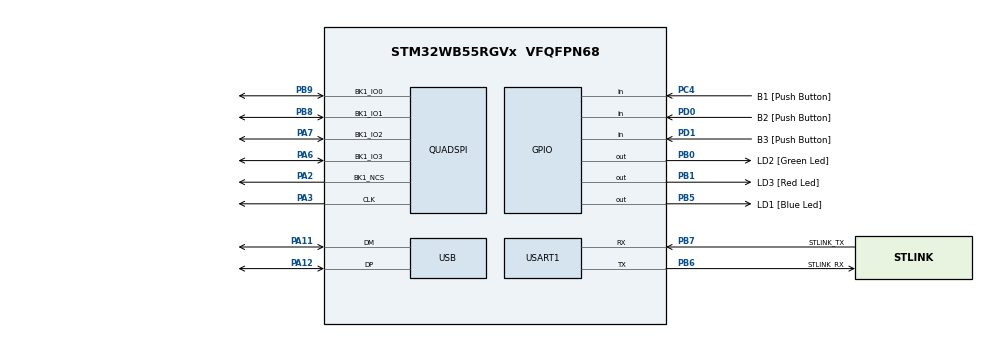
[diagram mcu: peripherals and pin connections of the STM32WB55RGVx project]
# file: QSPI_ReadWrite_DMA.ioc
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Dma.QUADSPI.0.Direction=DMA_PERIPH_TO_MEMORY
Dma.QUADSPI.0.EventEnable=DISABLE
Dma.QUADSPI.0.Instance=DMA1_Channel5
Dma.QUADSPI.0.MemDataAlignment=DMA_MDATAALIGN_BYTE
Dma.QUADSPI.0.MemInc=DMA_MINC_ENABLE
Dma.QUADSPI.0.Mode=DMA_NORMAL
Dma.QUADSPI.0.PeriphDataAlignment=DMA_PDATAALIGN_BYTE
Dma.QUADSPI.0.PeriphInc=DMA_PINC_DISABLE
Dma.QUADSPI.0.Polarity=HAL_DMAMUX_REQ_GEN_RISING
Dma.QUADSPI.0.Priority=DMA_PRIORITY_LOW
Dma.QUADSPI.0.RequestNumber=1
Dma.QUADSPI.0.SignalID=NONE
Dma.QUADSPI.0.SyncEnable=DISABLE
Dma.QUADSPI.0.SyncPolarity=HAL_DMAMUX_SYNC_NO_EVENT
Dma.QUADSPI.0.SyncRequestNumber=1
Dma.QUADSPI.0.SyncSignalID=NONE
Dma.Request0=QUADSPI
Mcu.Family=STM32WB
Mcu.Name=STM32WB55RGVx
Mcu.Package=VFQFPN68
NVIC.DMA1_Channel5_IRQn=true\:0\:0\:false\:false\:true\:false\:true
NVIC.PriorityGroup=NVIC_PRIORITYGROUP_4
NVIC.QUADSPI_IRQn=true\:0\:0\:false\:false\:true\:true\:true
OSC_IN.Mode=HSE-External-Oscillator
OSC_IN.Signal=RCC_OSC_IN
OSC_OUT.Mode=HSE-External-Oscillator
OSC_OUT.Signal=RCC_OSC_OUT
PA11.Mode=Device
PA11.Signal=USB_DM
PA12.Mode=Device
PA12.Signal=USB_DP
PA13.GPIO_Label=JTMS
PA13.Mode=Trace_Asynchronous_SW
PA13.Signal=SYS_JTMS-SWDIO
PA14.GPIO_Label=JTCK
PA14.Mode=Trace_Asynchronous_SW
PA14.Signal=SYS_JTCK-SWCLK
PA2.GPIO_PuPd=GPIO_PULLUP
PA2.GPIO_Speed=GPIO_SPEED_FREQ_VERY_HIGH
PA2.Mode=Single Bank 1
PA2.Signal=QUADSPI_BK1_NCS
PA3.GPIO_Speed=GPIO_SPEED_FREQ_VERY_HIGH
PA3.Mode=Single Bank 1
PA3.Signal=QUADSPI_CLK
PA6.GPIO_Speed=GPIO_SPEED_FREQ_VERY_HIGH
PA6.Mode=Single Bank 1
PA6.Signal=QUADSPI_BK1_IO3
PA7.GPIO_Speed=GPIO_SPEED_FREQ_VERY_HIGH
PA7.Mode=Single Bank 1
PA7.Signal=QUADSPI_BK1_IO2
PB0.GPIO_Label=LD2 [Green Led]
PB0.Signal=GPIO_Output
PB1.GPIO_Label=LD3 [Red Led]
PB1.Signal=GPIO_Output
PB3.GPIO_Label=JTDO
PB3.Mode=Trace_Asynchronous_SW
PB3.Signal=SYS_JTDO-SWO
PB5.GPIO_Label=LD1 [Blue Led]
PB5.Signal=GPIO_Output
PB6.GPIO_Label=STLINK_RX
PB6.GPIO_PuPd=GPIO_PULLUP
PB6.Mode=Asynchronous
PB6.Signal=USART1_TX
PB7.GPIO_Label=STLINK_TX
PB7.GPIO_PuPd=GPIO_PULLUP
PB7.Mode=Asynchronous
PB7.Signal=USART1_RX
PB8.GPIO_Speed=GPIO_SPEED_FREQ_VERY_HIGH
PB8.Mode=Single Bank 1
PB8.Signal=QUADSPI_BK1_IO1
PB9.GPIO_Speed=GPIO_SPEED_FREQ_VERY_HIGH
PB9.Mode=Single Bank 1
PB9.Signal=QUADSPI_BK1_IO0
PC13.Mode=SYS_WakeUp1
PC13.Signal=SYS_WKUP2
PC14-OSC32_IN.Mode=LSE-External-Oscillator
PC14-OSC32_IN.Signal=RCC_OSC32_IN
PC15-OSC32_OUT.Mode=LSE-External-Oscillator
PC15-OSC32_OUT.Signal=RCC_OSC32_OUT
PC4.GPIO_Label=B1 [Push Button]
PC4.Signal=GPIO_Input
PD0.GPIO_Label=B2 [Push Button]
PD0.Signal=GPIO_Input
PD1.GPIO_Label=B3 [Push Button]
PD1.Signal=GPIO_Input
ProjectManager.HeapSize=0x200
ProjectManager.StackSize=0x400
ProjectManager.TargetToolchain=EWARM V8
QUADSPI.ClockPrescaler=2
QUADSPI.FifoThreshold=4
QUADSPI.FlashSize=22
QUADSPI.SampleShifting=QSPI_SAMPLE_SHIFTING_HALFCYCLE
RCC.ADCFreq_Value=48000000
RCC.AHB2CLKDivider=RCC_SYSCLK_DIV2
RCC.AHBFreq_Value=64000000
RCC.APB1Freq_Value=64000000
RCC.APB1TimFreq_Value=64000000
RCC.APB2Freq_Value=64000000
RCC.APB2TimFreq_Value=64000000
RCC.APB3Freq_Value=16000000
RCC.CortexFreq_Value=64000000
RCC.HCLKFreq_Value=64000000
RCC.HSE_VALUE=32000000
RCC.HSI48_VALUE=48000000
RCC.HSI_VALUE=16000000
RCC.PLLN=32
RCC.PLLSAI1N=24
RCC.SMPSCLockSelectionVirtual=RCC_SMPSCLKSOURCE_HSI
RCC.SMPSCLockSelectionVirtualVirtual=RCC_SMPSCLKSOURCE_HSI
RCC.SYSCLKFreq_VALUE=64000000
RCC.SYSCLKSource=RCC_SYSCLKSOURCE_PLLCLK
RCC.USBFreq_Value=48000000
RCC.VCOOutputFreq_Value=128000000
USART1.VirtualMode-Asynchronous=VM_ASYNC
USART1.WordLength=WORDLENGTH_7B
board=P-NUCLEO-WB55.Nucleo

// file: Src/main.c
/* USER CODE BEGIN Header */
/**
  ******************************************************************************
  * @file    QSPI/QSPI_ReadWrite_DMA/Src/main.c
  * @author  MCD Application Team
  * @brief   This sample code shows how to erase part of the QSPI memory, write
  *          data in DMA mode, read data in DMA mode and compare the result in
  *          a forever loop.
  ******************************************************************************
  * @attention
  *
  * <h2><center>&copy; Copyright (c) 2019 STMicroelectronics.
  * All rights reserved.</center></h2>
  *
  * This software component is licensed by ST under BSD 3-Clause license,
  * the "License"; You may not use this file except in compliance with the
  * License. You may obtain a copy of the License at:
  *                        opensource.org/licenses/BSD-3-Clause
  *
  ******************************************************************************
  */
/* USER CODE END Header */
#include "main.h"

QSPI_HandleTypeDef hqspi;
DMA_HandleTypeDef hdma_quadspi;

UART_HandleTypeDef huart1;

PCD_HandleTypeDef hpcd_USB_FS;

/* USER CODE BEGIN PV */
__IO uint8_t CmdCplt, RxCplt, TxCplt, StatusMatch;

/* Buffer used for transmission */
uint8_t aTxBuffer[] = " ****QSPI communication based on DMA****  ****QSPI communication based on DMA****  ****QSPI communication based on DMA****  ****QSPI communication based on DMA****  ****QSPI communication based on DMA****  ****QSPI communication based on DMA**** ";

/* Buffer used for reception */
uint8_t aRxBuffer[BUFFERSIZE];
/* USER CODE END PV */

void SystemClock_Config(void);
static void MX_GPIO_Init(void);
static void MX_DMA_Init(void);
static void MX_QUADSPI_Init(void);
static void MX_USART1_UART_Init(void);
static void MX_USB_PCD_Init(void);
/* USER CODE BEGIN PFP */
static void QSPI_WriteEnable(QSPI_HandleTypeDef *hqspi);
static void QSPI_AutoPollingMemReady(QSPI_HandleTypeDef *hqspi);
static void QSPI_DummyCyclesCfg(QSPI_HandleTypeDef *hqspi);
/* USER CODE END PFP */

int main(void)
{
  /* USER CODE BEGIN 1 */
  QSPI_CommandTypeDef sCommand;
  uint32_t address = 0;
  uint16_t index;
  __IO uint8_t step = 0;

  /* USER CODE END 1 */

  /* MCU Configuration--------------------------------------------------------*/

  /* Reset of all peripherals, Initializes the Flash interface and the Systick. */
  HAL_Init();

  /* Configure the system clock */
  SystemClock_Config();

  /* USER CODE BEGIN SysInit */
  BSP_LED_Init(LED_GREEN);
  BSP_LED_Init(LED_RED);
  /* USER CODE END SysInit */

  /* Initialize all configured peripherals */
  MX_GPIO_Init();
  MX_DMA_Init();
  MX_QUADSPI_Init();
  MX_USART1_UART_Init();
  MX_USB_PCD_Init();

  /* Infinite loop */
  /* USER CODE BEGIN WHILE */
  sCommand.InstructionMode   = QSPI_INSTRUCTION_1_LINE;
  sCommand.AddressSize       = QSPI_ADDRESS_24_BITS;
  sCommand.AlternateByteMode = QSPI_ALTERNATE_BYTES_NONE;
  sCommand.DdrMode           = QSPI_DDR_MODE_DISABLE;
  sCommand.SIOOMode          = QSPI_SIOO_INST_EVERY_CMD;

  while (1)
  {
    switch(step)
    {
      case 0:
        CmdCplt = 0;

        /* Initialize Reception buffer --------------------------------------- */
        for (index = 0; index < BUFFERSIZE; index++)
        {
          aRxBuffer[index] = 0;
        }

        /* Enable write operations ------------------------------------------- */
        QSPI_WriteEnable(&hqspi);

        /* Erasing Sequence -------------------------------------------------- */
        sCommand.Instruction = SUBSECTOR_ERASE_CMD;
        sCommand.AddressMode = QSPI_ADDRESS_1_LINE;
        sCommand.Address     = address;
        sCommand.DataMode    = QSPI_DATA_NONE;
        sCommand.DummyCycles = 0;

        if (HAL_QSPI_Command_IT(&hqspi, &sCommand) != HAL_OK)
        {
          Error_Handler();
        }

        step++;
        break;

      case 1:
        if(CmdCplt != 0)
        {
          CmdCplt = 0;
          StatusMatch = 0;

          /* Configure automatic polling mode to wait for end of erase ------- */
          QSPI_AutoPollingMemReady(&hqspi);

          step++;
        }
        break;

      case 2:
        if(StatusMatch != 0)
        {
          StatusMatch = 0;
          TxCplt = 0;

          /* Enable write operations ----------------------------------------- */
          QSPI_WriteEnable(&hqspi);

          /* Writing Sequence ------------------------------------------------ */
          sCommand.Instruction = EXT_DUAL_IN_FAST_PROG_CMD;
          sCommand.AddressMode = QSPI_ADDRESS_2_LINES;
          sCommand.DataMode    = QSPI_DATA_2_LINES;
          sCommand.NbData      = BUFFERSIZE;

          if (HAL_QSPI_Command(&hqspi, &sCommand, HAL_QSPI_TIMEOUT_DEFAULT_VALUE) != HAL_OK)
          {
            Error_Handler();
          }

          if (HAL_QSPI_Transmit_DMA(&hqspi, aTxBuffer) != HAL_OK)
          {
            Error_Handler();
          }

          step++;
        }
        break;

      case 3:
        if(TxCplt != 0)
        {
          TxCplt = 0;
          StatusMatch = 0;

          /* Configure automatic polling mode to wait for end of program ----- */
          QSPI_AutoPollingMemReady(&hqspi);

          step++;
        }
        break;

      case 4:
        if(StatusMatch != 0)
        {
          StatusMatch = 0;
          RxCplt = 0;

          /* Configure Volatile Configuration register (with new dummy cycles) */
          QSPI_DummyCyclesCfg(&hqspi);

          /* Reading Sequence ------------------------------------------------ */
          sCommand.Instruction = QUAD_OUT_FAST_READ_CMD;
          sCommand.AddressMode = QSPI_ADDRESS_1_LINE;
          sCommand.DataMode    = QSPI_DATA_4_LINES;
          sCommand.DummyCycles = DUMMY_CLOCK_CYCLES_READ;

          if (HAL_QSPI_Command(&hqspi, &sCommand, HAL_QSPI_TIMEOUT_DEFAULT_VALUE) != HAL_OK)
          {
            Error_Handler();
          }

          if (HAL_QSPI_Receive_DMA(&hqspi, aRxBuffer) != HAL_OK)
          {
            Error_Handler();
          }
          step++;
        }
        break;

      case 5:
        if (RxCplt != 0)
        {
          RxCplt = 0;

          /* Result comparison ----------------------------------------------- */
          for (index = 0; index < BUFFERSIZE; index++)
          {
            if (aRxBuffer[index] != aTxBuffer[index])
            {
              BSP_LED_On(LED_RED);
            }
          }
          BSP_LED_Toggle(LED_GREEN);

          address += QSPI_PAGE_SIZE;
          if(address >= QSPI_END_ADDR)
          {
            address = 0;
          }
          step = 0;
        }
        break;

      default :
        Error_Handler();
    }
    /* USER CODE END WHILE */

  }
}

void SystemClock_Config(void)
{
  RCC_OscInitTypeDef RCC_OscInitStruct = {0};
  RCC_ClkInitTypeDef RCC_ClkInitStruct = {0};
  RCC_PeriphCLKInitTypeDef PeriphClkInitStruct = {0};

  /** Configure LSE Drive Capability
  */
  HAL_PWR_EnableBkUpAccess();
  __HAL_RCC_LSEDRIVE_CONFIG(RCC_LSEDRIVE_LOW);
  /** Configure the main internal regulator output voltage
  */
  __HAL_PWR_VOLTAGESCALING_CONFIG(PWR_REGULATOR_VOLTAGE_SCALE1);
  /** Initializes the RCC Oscillators according to the specified parameters
  * in the RCC_OscInitTypeDef structure.
  */
  RCC_OscInitStruct.OscillatorType = RCC_OSCILLATORTYPE_HSI|RCC_OSCILLATORTYPE_HSE
                              |RCC_OSCILLATORTYPE_LSE|RCC_OSCILLATORTYPE_MSI;
  RCC_OscInitStruct.HSEState = RCC_HSE_ON;
  RCC_OscInitStruct.LSEState = RCC_LSE_ON;
  RCC_OscInitStruct.HSIState = RCC_HSI_ON;
  RCC_OscInitStruct.MSIState = RCC_MSI_ON;
  RCC_OscInitStruct.HSICalibrationValue = RCC_HSICALIBRATION_DEFAULT;
  RCC_OscInitStruct.MSICalibrationValue = RCC_MSICALIBRATION_DEFAULT;
  RCC_OscInitStruct.MSIClockRange = RCC_MSIRANGE_6;
  RCC_OscInitStruct.PLL.PLLState = RCC_PLL_ON;
  RCC_OscInitStruct.PLL.PLLSource = RCC_PLLSOURCE_MSI;
  RCC_OscInitStruct.PLL.PLLM = RCC_PLLM_DIV1;
  RCC_OscInitStruct.PLL.PLLN = 32;
  RCC_OscInitStruct.PLL.PLLP = RCC_PLLP_DIV2;
  RCC_OscInitStruct.PLL.PLLR = RCC_PLLR_DIV2;
  RCC_OscInitStruct.PLL.PLLQ = RCC_PLLQ_DIV2;
  if (HAL_RCC_OscConfig(&RCC_OscInitStruct) != HAL_OK)
  {
    Error_Handler();
  }
  /** Configure the SYSCLKSource, HCLK, PCLK1 and PCLK2 clocks dividers
  */
  RCC_ClkInitStruct.ClockType = RCC_CLOCKTYPE_HCLK4|RCC_CLOCKTYPE_HCLK2
                              |RCC_CLOCKTYPE_HCLK|RCC_CLOCKTYPE_SYSCLK
                              |RCC_CLOCKTYPE_PCLK1|RCC_CLOCKTYPE_PCLK2;
  RCC_ClkInitStruct.SYSCLKSource = RCC_SYSCLKSOURCE_PLLCLK;
  RCC_ClkInitStruct.AHBCLKDivider = RCC_SYSCLK_DIV1;
  RCC_ClkInitStruct.APB1CLKDivider = RCC_HCLK_DIV1;
  RCC_ClkInitStruct.APB2CLKDivider = RCC_HCLK_DIV1;
  RCC_ClkInitStruct.AHBCLK2Divider = RCC_SYSCLK_DIV2;
  RCC_ClkInitStruct.AHBCLK4Divider = RCC_SYSCLK_DIV1;

  if (HAL_RCC_ClockConfig(&RCC_ClkInitStruct, FLASH_LATENCY_3) != HAL_OK)
  {
    Error_Handler();
  }
  /** Initializes the peripherals clocks
  */
  PeriphClkInitStruct.PeriphClockSelection = RCC_PERIPHCLK_SMPS|RCC_PERIPHCLK_USART1
                              |RCC_PERIPHCLK_USB;
  PeriphClkInitStruct.PLLSAI1.PLLN = 24;
  PeriphClkInitStruct.PLLSAI1.PLLP = RCC_PLLP_DIV2;
  PeriphClkInitStruct.PLLSAI1.PLLQ = RCC_PLLQ_DIV2;
  PeriphClkInitStruct.PLLSAI1.PLLR = RCC_PLLR_DIV2;
  PeriphClkInitStruct.PLLSAI1.PLLSAI1ClockOut = RCC_PLLSAI1_USBCLK;
  PeriphClkInitStruct.Usart1ClockSelection = RCC_USART1CLKSOURCE_PCLK2;
  PeriphClkInitStruct.UsbClockSelection = RCC_USBCLKSOURCE_PLLSAI1;
  PeriphClkInitStruct.SmpsClockSelection = RCC_SMPSCLKSOURCE_HSI;
  PeriphClkInitStruct.SmpsDivSelection = RCC_SMPSCLKDIV_RANGE1;
  if (HAL_RCCEx_PeriphCLKConfig(&PeriphClkInitStruct) != HAL_OK)
  {
    Error_Handler();
  }
  /** Enable MSI Auto calibration
  */
  HAL_RCCEx_EnableMSIPLLMode();
}

static void MX_QUADSPI_Init(void)
{

  /* QUADSPI parameter configuration*/
  hqspi.Instance = QUADSPI;
  hqspi.Init.ClockPrescaler = 2;
  hqspi.Init.FifoThreshold = 4;
  hqspi.Init.SampleShifting = QSPI_SAMPLE_SHIFTING_HALFCYCLE;
  hqspi.Init.FlashSize = 22;
  hqspi.Init.ChipSelectHighTime = QSPI_CS_HIGH_TIME_1_CYCLE;
  hqspi.Init.ClockMode = QSPI_CLOCK_MODE_0;
  if (HAL_QSPI_Init(&hqspi) != HAL_OK)
  {
    Error_Handler();
  }

}

static void MX_USART1_UART_Init(void)
{

  huart1.Instance = USART1;
  huart1.Init.BaudRate = 115200;
  huart1.Init.WordLength = UART_WORDLENGTH_7B;
  huart1.Init.StopBits = UART_STOPBITS_1;
  huart1.Init.Parity = UART_PARITY_NONE;
  huart1.Init.Mode = UART_MODE_TX_RX;
  huart1.Init.HwFlowCtl = UART_HWCONTROL_NONE;
  huart1.Init.OverSampling = UART_OVERSAMPLING_16;
  huart1.Init.OneBitSampling = UART_ONE_BIT_SAMPLE_DISABLE;
  huart1.Init.ClockPrescaler = UART_PRESCALER_DIV1;
  huart1.AdvancedInit.AdvFeatureInit = UART_ADVFEATURE_NO_INIT;
  if (HAL_UART_Init(&huart1) != HAL_OK)
  {
    Error_Handler();
  }
  if (HAL_UARTEx_SetTxFifoThreshold(&huart1, UART_TXFIFO_THRESHOLD_1_8) != HAL_OK)
  {
    Error_Handler();
  }
  if (HAL_UARTEx_SetRxFifoThreshold(&huart1, UART_RXFIFO_THRESHOLD_1_8) != HAL_OK)
  {
    Error_Handler();
  }
  if (HAL_UARTEx_DisableFifoMode(&huart1) != HAL_OK)
  {
    Error_Handler();
  }

}

static void MX_USB_PCD_Init(void)
{

  hpcd_USB_FS.Instance = USB;
  hpcd_USB_FS.Init.dev_endpoints = 8;
  hpcd_USB_FS.Init.speed = PCD_SPEED_FULL;
  hpcd_USB_FS.Init.phy_itface = PCD_PHY_EMBEDDED;
  hpcd_USB_FS.Init.Sof_enable = DISABLE;
  hpcd_USB_FS.Init.low_power_enable = DISABLE;
  hpcd_USB_FS.Init.lpm_enable = DISABLE;
  hpcd_USB_FS.Init.battery_charging_enable = DISABLE;
  if (HAL_PCD_Init(&hpcd_USB_FS) != HAL_OK)
  {
    Error_Handler();
  }

}

static void MX_DMA_Init(void)
{

  /* DMA controller clock enable */
  __HAL_RCC_DMAMUX1_CLK_ENABLE();
  __HAL_RCC_DMA1_CLK_ENABLE();

  /* DMA interrupt init */
  /* DMA1_Channel5_IRQn interrupt configuration */
  HAL_NVIC_SetPriority(DMA1_Channel5_IRQn, 0, 0);
  HAL_NVIC_EnableIRQ(DMA1_Channel5_IRQn);

}

static void MX_GPIO_Init(void)
{
  GPIO_InitTypeDef GPIO_InitStruct = {0};

  /* GPIO Ports Clock Enable */
  __HAL_RCC_GPIOC_CLK_ENABLE();
  __HAL_RCC_GPIOB_CLK_ENABLE();
  __HAL_RCC_GPIOA_CLK_ENABLE();
  __HAL_RCC_GPIOD_CLK_ENABLE();

  /*Configure GPIO pin Output Level */
  HAL_GPIO_WritePin(GPIOB, LD2_Pin|LD3_Pin|LD1_Pin, GPIO_PIN_RESET);

  /*Configure GPIO pin : B1_Pin */
  GPIO_InitStruct.Pin = B1_Pin;
  GPIO_InitStruct.Mode = GPIO_MODE_INPUT;
  GPIO_InitStruct.Pull = GPIO_NOPULL;
  HAL_GPIO_Init(B1_GPIO_Port, &GPIO_InitStruct);

  /*Configure GPIO pins : LD2_Pin LD3_Pin LD1_Pin */
  GPIO_InitStruct.Pin = LD2_Pin|LD3_Pin|LD1_Pin;
  GPIO_InitStruct.Mode = GPIO_MODE_OUTPUT_PP;
  GPIO_InitStruct.Pull = GPIO_NOPULL;
  GPIO_InitStruct.Speed = GPIO_SPEED_FREQ_LOW;
  HAL_GPIO_Init(GPIOB, &GPIO_InitStruct);

  /*Configure GPIO pins : B2_Pin B3_Pin */
  GPIO_InitStruct.Pin = B2_Pin|B3_Pin;
  GPIO_InitStruct.Mode = GPIO_MODE_INPUT;
  GPIO_InitStruct.Pull = GPIO_NOPULL;
  HAL_GPIO_Init(GPIOD, &GPIO_InitStruct);

}

/* USER CODE BEGIN 4 */
/**
  * @brief  Command completed callbacks.
  * @param  hqspi QSPI handle
  * @retval None
  */
void HAL_QSPI_CmdCpltCallback(QSPI_HandleTypeDef *hqspi)
{
  CmdCplt++;
}

/**
  * @brief  Rx Transfer completed callbacks.
  * @param  hqspi QSPI handle
  * @retval None
  */
void HAL_QSPI_RxCpltCallback(QSPI_HandleTypeDef *hqspi)
{
  RxCplt++;
}

/**
  * @brief  Tx Transfer completed callbacks.
  * @param  hqspi QSPI handle
  * @retval None
  */
void HAL_QSPI_TxCpltCallback(QSPI_HandleTypeDef *hqspi)
{
  TxCplt++;
}

/**
  * @brief  Status Match callbacks
  * @param  hqspi QSPI handle
  * @retval None
  */
void HAL_QSPI_StatusMatchCallback(QSPI_HandleTypeDef *hqspi)
{
  StatusMatch++;
}

/**
  * @brief  This function send a Write Enable and wait it is effective.
  * @param  hqspi QSPI handle
  * @retval None
  */
static void QSPI_WriteEnable(QSPI_HandleTypeDef *hqspi)
{
  QSPI_CommandTypeDef     sCommand;
  QSPI_AutoPollingTypeDef sConfig;

  /* Enable write operations ------------------------------------------ */
  sCommand.InstructionMode   = QSPI_INSTRUCTION_1_LINE;
  sCommand.Instruction       = WRITE_ENABLE_CMD;
  sCommand.AddressMode       = QSPI_ADDRESS_NONE;
  sCommand.AlternateByteMode = QSPI_ALTERNATE_BYTES_NONE;
  sCommand.DataMode          = QSPI_DATA_NONE;
  sCommand.DummyCycles       = 0;
  sCommand.DdrMode           = QSPI_DDR_MODE_DISABLE;
  sCommand.SIOOMode          = QSPI_SIOO_INST_EVERY_CMD;

  if (HAL_QSPI_Command(hqspi, &sCommand, HAL_QSPI_TIMEOUT_DEFAULT_VALUE) != HAL_OK)
  {
    Error_Handler();
  }

  /* Configure automatic polling mode to wait for write enabling ---- */
  sConfig.Match           = 0x02;
  sConfig.Mask            = 0x02;
  sConfig.MatchMode       = QSPI_MATCH_MODE_AND;
  sConfig.StatusBytesSize = 1;
  sConfig.Interval        = 0x10;
  sConfig.AutomaticStop   = QSPI_AUTOMATIC_STOP_ENABLE;

  sCommand.Instruction    = READ_STATUS_REG_CMD;
  sCommand.DataMode       = QSPI_DATA_1_LINE;

  if (HAL_QSPI_AutoPolling(hqspi, &sCommand, &sConfig, HAL_QSPI_TIMEOUT_DEFAULT_VALUE) != HAL_OK)
  {
    Error_Handler();
  }
}

/**
  * @brief  This function read the SR of the memory and wait the EOP.
  * @param  hqspi QSPI handle
  * @retval None
  */
static void QSPI_AutoPollingMemReady(QSPI_HandleTypeDef *hqspi)
{
  QSPI_CommandTypeDef     sCommand;
  QSPI_AutoPollingTypeDef sConfig;

  /* Configure automatic polling mode to wait for memory ready ------ */
  sCommand.InstructionMode   = QSPI_INSTRUCTION_1_LINE;
  sCommand.Instruction       = READ_STATUS_REG_CMD;
  sCommand.AddressMode       = QSPI_ADDRESS_NONE;
  sCommand.AlternateByteMode = QSPI_ALTERNATE_BYTES_NONE;
  sCommand.DataMode          = QSPI_DATA_1_LINE;
  sCommand.DummyCycles       = 0;
  sCommand.DdrMode           = QSPI_DDR_MODE_DISABLE;
  sCommand.SIOOMode          = QSPI_SIOO_INST_EVERY_CMD;

  sConfig.Match           = 0x00;
  sConfig.Mask            = 0x01;
  sConfig.MatchMode       = QSPI_MATCH_MODE_AND;
  sConfig.StatusBytesSize = 1;
  sConfig.Interval        = 0x10;
  sConfig.AutomaticStop   = QSPI_AUTOMATIC_STOP_ENABLE;

  if (HAL_QSPI_AutoPolling_IT(hqspi, &sCommand, &sConfig) != HAL_OK)
  {
    Error_Handler();
  }
}

/**
  * @brief  This function configure the dummy cycles on memory side.
  * @param  hqspi QSPI handle
  * @retval None
  */
static void QSPI_DummyCyclesCfg(QSPI_HandleTypeDef *hqspi)
{
  QSPI_CommandTypeDef sCommand;
  uint8_t reg;

  /* Read Volatile Configuration register --------------------------- */
  sCommand.InstructionMode   = QSPI_INSTRUCTION_1_LINE;
  sCommand.Instruction       = READ_VOL_CFG_REG_CMD;
  sCommand.AddressMode       = QSPI_ADDRESS_NONE;
  sCommand.AlternateByteMode = QSPI_ALTERNATE_BYTES_NONE;
  sCommand.DataMode          = QSPI_DATA_1_LINE;
  sCommand.DummyCycles       = 0;
  sCommand.DdrMode           = QSPI_DDR_MODE_DISABLE;
  sCommand.SIOOMode          = QSPI_SIOO_INST_EVERY_CMD;
  sCommand.NbData            = 1;

  if (HAL_QSPI_Command(hqspi, &sCommand, HAL_QSPI_TIMEOUT_DEFAULT_VALUE) != HAL_OK)
  {
    Error_Handler();
  }

  if (HAL_QSPI_Receive(hqspi, &reg, HAL_QSPI_TIMEOUT_DEFAULT_VALUE) != HAL_OK)
  {
    Error_Handler();
  }

  /* Enable write operations ---------------------------------------- */
  QSPI_WriteEnable(hqspi);

  /* Write Volatile Configuration register (with new dummy cycles) -- */
  sCommand.Instruction = WRITE_VOL_CFG_REG_CMD;
  MODIFY_REG(reg, 0xF0, (DUMMY_CLOCK_CYCLES_READ << POSITION_VAL(0xF0)));

  if (HAL_QSPI_Command(hqspi, &sCommand, HAL_QSPI_TIMEOUT_DEFAULT_VALUE) != HAL_OK)
  {
    Error_Handler();
  }

  if (HAL_QSPI_Transmit(hqspi, &reg, HAL_QSPI_TIMEOUT_DEFAULT_VALUE) != HAL_OK)
  {
    Error_Handler();
  }
}

/* USER CODE END 4 */

void Error_Handler(void)
{
  /* USER CODE BEGIN Error_Handler_Debug */
  /* User can add his own implementation to report the HAL error return state */
  while(1)
  {
    HAL_Delay(100);
    BSP_LED_Toggle(LED_RED);
  }
  /* USER CODE END Error_Handler_Debug */
}

/************************ (C) COPYRIGHT STMicroelectronics *****END OF FILE****/
